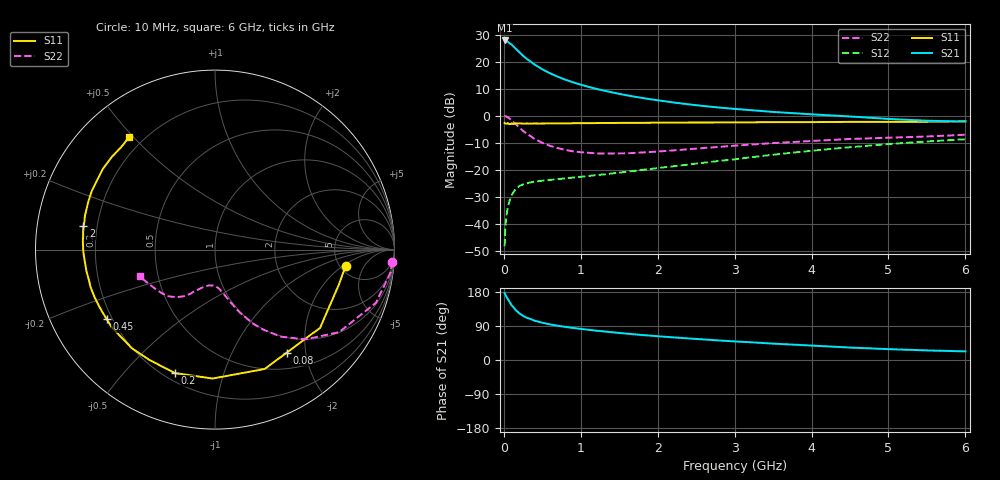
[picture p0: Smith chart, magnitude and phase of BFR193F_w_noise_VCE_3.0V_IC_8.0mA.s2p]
! Infineon Technologies  Discrete & RF Semiconductors
! BFR193F
! VCE =  3.0 V,  IC =  8.0 mA
! Common Emitter S-Parameters:  Jan 2017
# GHz  S  MA  R  50
!  f  S11  S21  S12  S22
! GHz  MAG  ANG  MAG  ANG  MAG  ANG  MAG  ANG
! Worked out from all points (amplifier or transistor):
!   77 points, 10 MHz to 6 GHz, reference 50 ohm
!   highest |S21| = 27.8 dB at 10 MHz (marker M1)
!   |S21| within 3 dB of that: start of sweep to 153.4 MHz
!   unconditionally stable (mu >= 1): 1.605 GHz to 2.978 GHz
!   at 130 MHz: K = 0.15, MSG = 26.7 dB, |S12| = -28.0 dB
!   at 2.2 GHz: K = 1.06, MAG = 10.3 dB, |S12| = -18.7 dB
!   at 6 GHz: K = 0.82, MSG = 3.3 dB, |S12| = -8.7 dB
!   lowest NFmin = 0.84 dB at 450 MHz
!   S11 on the Smith chart (normalised r, x): 10 MHz: 5.59, -2.22; 80 MHz: 0.74, -1.67; 200 MHz: 0.24, -0.70; 450 MHz: 0.18, -0.28; 2 GHz: 0.15, +0.09; 6 GHz: 0.15, +0.49
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0.01  0.7333 -7.2  24.55 176.6  0.0039 86.6  0.989 -3.9
0.02  0.7172 -15.8  24.2 172.2  0.0088 84.3  0.9853 -7.6
0.05  0.73 -36.7  23.4 161.0  0.02 73.0  0.9445 -18.3
0.08  0.6994 -55.1  21.54 151.7  0.0284 63.3  0.8686 -27.0
0.1  0.7204 -67.4  20.66 144.7  0.0342 59.6  0.8307 -33.6
0.15  0.7185 -91.1  17.57 132.5  0.0437 51.4  0.7094 -44.8
0.2  0.7232 -108.0  14.98 123.3  0.0502 44.7  0.6094 -52.8
0.25  0.7151 -120.6  12.79 116.5  0.0539 40.8  0.5247 -58.6
0.3  0.7188 -130.1  11.19 111.4  0.0567 38.7  0.463 -62.9
0.4  0.72 -143.1  8.782 103.6  0.0608 36.0  0.3727 -68.8
0.45  0.717 -147.4  7.979 101.2  0.0619 35.6  0.3443 -70.6
0.6  0.7215 -158.1  6.085 93.9  0.0652 36.1  0.2778 -76.0
0.7  0.724 -163.3  5.264 90.4  0.0675 37.2  0.2521 -78.8
0.9  0.7263 -170.4  4.14 84.6  0.0721 40.7  0.2198 -83.8
1.1  0.7292 -175.6  3.413 79.7  0.0769 44.2  0.207 -88.5
1.5  0.737 177.0  2.537 71.4  0.0891 51.3  0.2014 -97.6
2  0.7442 169.9  1.928 62.7  0.108 58.5  0.2181 -107.1
2.1  0.744 168.8  1.843 61.3  0.1122 59.6  0.2232 -108.5
3.1  0.7553 158.5  1.304 48.0  0.1634 67.3  0.2859 -119.8
4.1  0.7637 148.2  1.043 37.0  0.2324 68.4  0.3477 -130.6
5.1  0.7725 136.9  0.859 28.0  0.3062 64.3  0.3967 -146.1
6  0.7888 127.4  0.781 22.7  0.3678 58.8  0.4458 -160.4
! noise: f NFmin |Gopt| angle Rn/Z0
0.45  0.84  0.25  124  0.08
0.9  0.99  0.4  147  0.07
1.9  1.74  0.61  -177  0.05
2.4  2.11  0.64  -167  0.08
